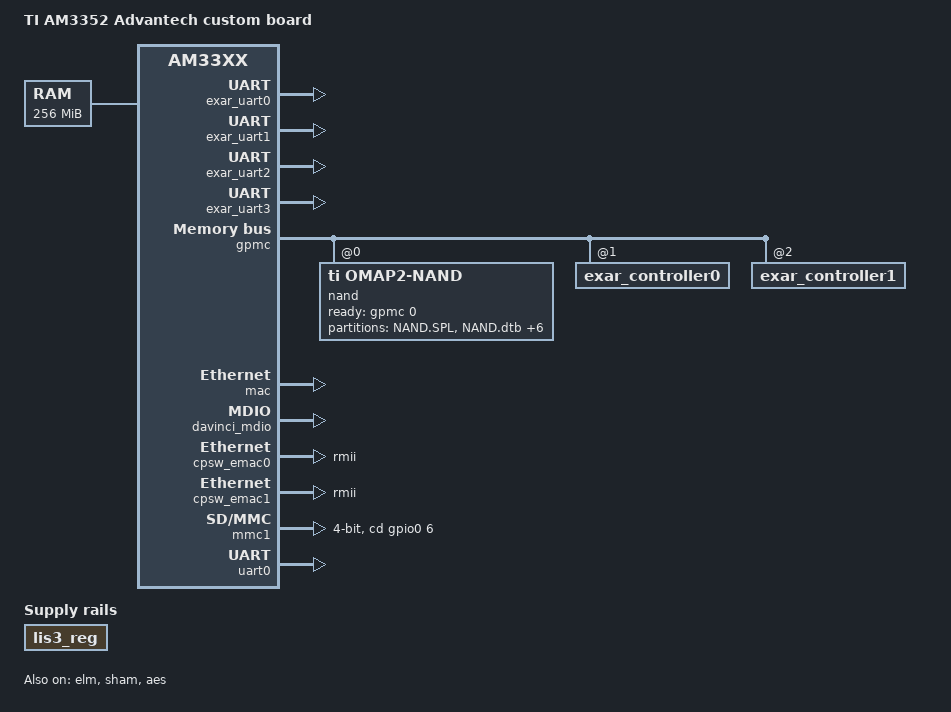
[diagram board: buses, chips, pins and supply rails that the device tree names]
/*
 * Copyright (C) 2012 Texas Instruments Incorporated - http://www.ti.com/
 *
 * This program is free software; you can redistribute it and/or modify
 * it under the terms of the GNU General Public License version 2 as
 * published by the Free Software Foundation.
 *
 *
 * ======= Advantech crop. am3352 custom board ========
*/

/dts-v1/;

#include "am33xx.dtsi"
#include <dt-bindings/pwm/pwm.h>
#include <dt-bindings/interrupt-controller/irq.h>

/ {
	model = "TI AM3352 Advantech custom board";
	compatible = "ti,am335x-evmsk", "ti,am33xx";
	
	cpus {
		cpu@0 { 
			cpu-idle-disabled; /* force cpu idle disable */
		};
	};

	memory {
		device_type = "memory";
		reg = <0x80000000 0x10000000>; /* 256 MB */
	};
	
	lis3_reg: fixedregulator@1 {
		compatible = "regulator-fixed";
		regulator-name = "lis3_reg";
		regulator-boot-on;
	};

	/**
	 * The exar uart node define:
	 * use 16550A driver
	*/
	exar_uart0: exar_uart0@9000000 {
		device_type = "serial";
		compatible = "exar,16m890";
		/*
		 * use GPMC cs1 base memory(0x9000000)
		 * size 0x07 (only 3 bit)
		*/
		reg = <0x09000000 0x07>;
		clock-frequency = <29491200>;
		interrupt-parent = <&intc>;
		/*
		 * reference by  ti-am335x TRM:
		 * 6.3 ARM cortex-A8 interrupt table
		*/
		interrupts = <123>; /* A15 */
		/* 
		 * self implement:
		 * 232/422/485 mode select
		*/
		mode-sel-gpio = <&gpio0 27 GPIO_ACTIVE_HIGH>; /* U12 */
		status = "okay"; 
	};
	
	exar_uart1: exar_uart1@9000008 {
		device_type = "serial";
		compatible = "exar,16m890";
		/*
		 * use GPMC cs1 base memory(0x9000008)
		 * size 0x07 (only 3 bit)
		*/
		reg = <0x09000008 0x07>;
		clock-frequency = <29491200>;
		fifo-size = <128>;
		interrupt-parent = <&intc>;
		/*
		 * reference by  ti-am335x TRM:
		 * 6.3 ARM cortex-A8 interrupt table
		*/
		interrupts = <124>; /* A14 */
		/* 
		 * self implement:
		 * 232/422/485 mode select
		*/
		mode-sel-gpio = <&gpio0 26 GPIO_ACTIVE_HIGH>; /* U11 */
		status = "okay"; 
	};

	exar_uart2: exar_uart2@a000000 {
		device_type = "serial";	
		compatible = "exar,16m890";
		/*
		 * use GPMC cs2 base memory(0xa000000)
		 * size 0x07 (only 3 bit)
		*/
		reg = <0x0a000000 0x07>;
		clock-frequency = <29491200>;
		fifo-size = <128>;
		/*
		 * Pin V14 cannot be a external interrupt,
		 * so use GPIO mode as interrupt
		 * reference by TRM 25.3.3
		*/
		interrupt-parent = <&gpio1>;
		interrupts = <17 IRQ_TYPE_LEVEL_HIGH>; /* V14 */
		/* 
		 * self implement:
		 * 232/422/485 mode select
		*/
		mode-sel-gpio = <&gpio0 23 GPIO_ACTIVE_HIGH>; /* T10 */
		status = "okay"; 
	};

	exar_uart3: exar_uart3@a000008 {
		device_type = "serial";	
		compatible = "exar,16m890";
		/*
		 * use GPMC cs2 base memory(0xa000008)
		 * size 0x07 (only 3 bit)
		*/
		reg = <0x0a000008 0x07>;
		clock-frequency = <29491200>;
		fifo-size = <128>;
		/*
		 * Pin U14 cannot be a external interrupt,
		 * so use GPIO mode as interrupt
		 * reference by TRM 25.3.3
		*/
		interrupt-parent = <&gpio1>;
		interrupts = <18 IRQ_TYPE_LEVEL_HIGH>; /* U14 */
		/* 
		 * self implement:
		 * 232/422/485 mode select
		*/
		mode-sel-gpio = <&gpio0 22 GPIO_ACTIVE_HIGH>; /* U10 */
		status = "okay"; 
	};
};

&am33xx_pinmux {
	pinctrl-names = "default";
	pinctrl-0 = <&gpmc_pins>;
	
	cpsw_default: cpsw_default {
		pinctrl-single,pins = <
			/* Slave 1 */
			0x10c ( PIN_INPUT_PULLDOWN | MUX_MODE1 )	/* (H17) gmii1_crs.rmii1_crs_dv */
			0x110 ( PIN_INPUT_PULLUP | MUX_MODE1 )		/* (J15) gmii1_rxer.rmii1_rxer */
			0x114 ( PIN_OUTPUT_PULLDOWN | MUX_MODE1 ) 	/* (J16) gmii1_txen.rmii1_txen */
			0x124 ( PIN_OUTPUT_PULLDOWN | MUX_MODE1 ) 	/* (K16) gmii1_txd1.rmii1_txd1 */
			0x128 ( PIN_OUTPUT_PULLDOWN | MUX_MODE1 ) 	/* (K17) gmii1_txd0.rmii1_txd0 */
			0x13c ( PIN_INPUT_PULLUP | MUX_MODE1 )		/* (L15) gmii1_rxd1.rmii1_rxd1 */
			0x140 ( PIN_INPUT_PULLUP | MUX_MODE1 ) 		/* (M16) gmii1_rxd0.rmii1_rxd0 */
			0x144 ( PIN_INPUT_PULLDOWN | MUX_MODE0 ) 	/* (H18) rmii1_refclk.rmii1_refclk */
			/* Slave 2 */
			0x40 ( PIN_OUTPUT_PULLDOWN | MUX_MODE3 ) 	/* (R13) gpmc_a0.rmii2_txen */
			0x50 ( PIN_OUTPUT_PULLDOWN | MUX_MODE3 ) 	/* (R14) gpmc_a4.rmii2_txd1 */
			0x54 ( PIN_OUTPUT_PULLDOWN | MUX_MODE3 ) 	/* (V15) gpmc_a5.rmii2_txd0 */
			0x68 ( PIN_INPUT_PULLUP | MUX_MODE3 ) 		/* (T16) gpmc_a10.rmii2_rxd1 */
			0x6c ( PIN_INPUT_PULLUP | MUX_MODE3 ) 		/* (V17) gpmc_a11.rmii2_rxd0 */
			0x74 ( PIN_INPUT_PULLUP | MUX_MODE3 ) 		/* (U17) gpmc_wpn.rmii2_rxer */
			0x88 ( PIN_INPUT_PULLDOWN | MUX_MODE2 ) 	/* (T13) gpmc_csn3.rmii2_crs_dv */
			0x108 ( PIN_INPUT_PULLDOWN | MUX_MODE1 ) 	/* (H16) gmii1_col.rmii2_refclk */
		>;
	};

	davinci_mdio_default: davinci_mdio_default {
		pinctrl-single,pins = <
			0x14c (PIN_OUTPUT_PULLUP | MUX_MODE0)				/* (M18) mdio_clk.mdio_clk */
			0x148 (PIN_INPUT_PULLUP | SLEWCTRL_FAST | MUX_MODE0)/* (M17) mdio_data.mdio_data */
		>;
	};
	
	mmc1_pins_default: pinmux_mmc1_pins {
		pinctrl-single,pins = <
			0x0F0 (PIN_INPUT_PULLUP | MUX_MODE0)	/* mmc0_dat3.mmc0_dat3 */
			0x0F4 (PIN_INPUT_PULLUP | MUX_MODE0)	/* mmc0_dat2.mmc0_dat2 */
			0x0F8 (PIN_INPUT_PULLUP | MUX_MODE0)	/* mmc0_dat1.mmc0_dat1 */
			0x0FC (PIN_INPUT_PULLUP | MUX_MODE0)	/* mmc0_dat0.mmc0_dat0 */
			0x100 (PIN_INPUT_PULLUP | MUX_MODE0)	/* mmc0_clk.mmc0_clk */
			0x104 (PIN_INPUT_PULLUP | MUX_MODE0)	/* mmc0_cmd.mmc0_cmd */
			0x1A0 (PIN_INPUT_PULLUP | MUX_MODE7)	/* mcasp0_aclkr.gpio3_18 */
			0x160 (PIN_INPUT | MUX_MODE7)			/* spi0_cs1.gpio0_6 */
		>;
	};
	/* The console */
	uart0_pins: pinmux_uart0_pins {
		pinctrl-single,pins = <
			0x170 (PIN_INPUT_PULLUP | MUX_MODE0)	/* (E15) uart0_rxd0 */
			0x174 (PIN_OUTPUT_PULLDOWN | MUX_MODE0)	/* (E16) uart0_txd0 */ 
		>;
	};
	
	gpmc_pins: pinmux_gpmc_pins {
		pinctrl-single,pins = <
			/* The nand flash pins */
			0x0 (PIN_INPUT_PULLUP | MUX_MODE0)	/* gpmc_ad0.gpmc_ad0 */
			0x4 (PIN_INPUT_PULLUP | MUX_MODE0)	/* gpmc_ad1.gpmc_ad1 */
			0x8 (PIN_INPUT_PULLUP | MUX_MODE0)	/* gpmc_ad2.gpmc_ad2 */
			0xc (PIN_INPUT_PULLUP | MUX_MODE0)	/* gpmc_ad3.gpmc_ad3 */
			0x10 (PIN_INPUT_PULLUP | MUX_MODE0)	/* gpmc_ad4.gpmc_ad4 */
			0x14 (PIN_INPUT_PULLUP | MUX_MODE0)	/* gpmc_ad5.gpmc_ad5 */
			0x18 (PIN_INPUT_PULLUP | MUX_MODE0)	/* gpmc_ad6.gpmc_ad6 */
			0x1c (PIN_INPUT_PULLUP | MUX_MODE0)	/* gpmc_ad7.gpmc_ad7 */
			0x70 (PIN_INPUT_PULLUP | MUX_MODE0)	/* gpmc_wait0.gpmc_wait0 */
			0x7c (PIN_OUTPUT | MUX_MODE0)		/* gpmc_csn0.gpmc_csn0  */
			0x90 (PIN_OUTPUT | MUX_MODE0)		/* gpmc_advn_ale.gpmc_advn_ale */
			0x94 (PIN_OUTPUT | MUX_MODE0)		/* gpmc_oen_ren.gpmc_oen_ren */
			0x98 (PIN_OUTPUT | MUX_MODE0)		/* gpmc_wen.gpmc_wen */
			0x9c (PIN_OUTPUT | MUX_MODE0)		/* gpmc_be0n_cle.gpmc_be0n_cle */
			/* The exar uart0 & uart1 pins */
			0x80 (PIN_OUTPUT | MUX_MODE0)		/* (U9) gpmc_csn1.gpmc_csn1 */
			0x1b0 (PIN_INPUT | MUX_MODE0)		/* (A15) xdma_event_intr0, INT0 */
			0x1b4 (PIN_INPUT | MUX_MODE0)		/* (D14) xdma_event_intr1, INT1 */
			0x2c (PIN_OUTPUT | MUX_MODE7)		/* (U12) gpio0[27], LD_SEL0 */
			0x28 (PIN_OUTPUT | MUX_MODE7)		/* (T11) gpio0[26], LD_SEL1 */
			0xa0 (PIN_OUTPUT | MUX_MODE1)		/* (R1) gpmca0, SMI_Addr0 */
			0xa4 (PIN_OUTPUT | MUX_MODE1)		/* (R2) gpmca1, SMI_Addr1 */
			/* The exar uart2 & uart3 pins */
			0x84 (PIN_OUTPUT | MUX_MODE0)		/* (V9) gpmc_csn2.gpmc_csn2 */
			0x44 (PIN_INPUT | MUX_MODE7)		/* (V14) gpio1[17], INT2 */
			0x48 (PIN_INPUT | MUX_MODE7)		/* (U14) gpio1[18], INT3 */
			0x24 (PIN_OUTPUT | MUX_MODE7)		/* (T10) gpio0[23], LD_SEL2 */
			0x20 (PIN_OUTPUT | MUX_MODE7)		/* (U10) gpio0[22], LD_SEL3 */
			0xa8 (PIN_OUTPUT | MUX_MODE1)		/* (R3) gpmca2, SMI_Addr2 */
			0xac (PIN_OUTPUT | MUX_MODE1)		/* (R4) gpmca3, SMI_Addr3 */
		>;
	};
};


&elm{
	status = "okay";
};

&gpmc {
	status = "okay";
	pinctrl-names = "default";
	ranges = <0 0 0x08000000 0x01000000>,/* CS0: 16MB for NAND */
			<1 0 0x09000000 0x01000000>, /* CS1: 16MB for exar uart controller 1 */
			<2 0 0x0a000000 0x01000000>; /* CS2: 16MB for exar uart controller 2 */
	nand@0,0 {
		compatible = "ti,omap2-nand";
		reg = <0 0 4>; /* CS0, offset 0, IO size 4 */
		interrupt-parent = <&intc>;
		interrupts = <0 IRQ_TYPE_NONE>, /* fifoevent */
					<1 IRQ_TYPE_NONE>; /* termcount */
		ready-gpio = <&gpmc 0 GPIO_ACTIVE_HIGH>; /* gpmc_wait0 */
		ti,nand-ecc-opt = "bch8";
		ti,elm-id = <&elm>;
		nand-bus-width = <8>;
		gpmc,device-nand = "true";
		gpmc,device-width = <1>;
		gpmc,sync-clk-ps = <0>;
		gpmc,cs-on-ns = <0>;
		gpmc,cs-rd-off-ns = <44>;
		gpmc,cs-wr-off-ns = <44>;
		gpmc,adv-on-ns = <6>;
		gpmc,adv-rd-off-ns = <34>;
		gpmc,adv-wr-off-ns = <44>;
		gpmc,we-on-ns = <0>;
		gpmc,we-off-ns = <40>;
		gpmc,oe-on-ns = <0>;
		gpmc,oe-off-ns = <54>;
		gpmc,access-ns = <64>;
		gpmc,rd-cycle-ns = <82>;
		gpmc,wr-cycle-ns = <82>;
		gpmc,bus-turnaround-ns = <0>;
		gpmc,cycle2cycle-delay-ns = <0>;
		gpmc,clk-activation-ns = <0>;
		gpmc,wr-access-ns = <40>;
		gpmc,wr-data-mux-bus-ns = <0>;
		/*
		 * MTD partition table 
		 *
		 * All SPL-* partitions are sized to minimal length
		 * which can be independently programmable. For
		 * NAND flash this is equal to size of erase-block 
		*/
		#address-cells = <1>;
		#size-cells = <1>;
		partition@0 {
			label = "NAND.SPL";
			reg = <0x00000000 0x000020000>; /* 128k */
		};
		partition@1 {
			label = "NAND.dtb";
			reg = <0x00020000 0x00020000>; /* 128k */
		};
		partition@2 {
			label = "NAND.u-boot";
			reg = <0x00040000 0x00100000>; /* 1m */
		};
		partition@3 {
			label = "NAND.u-boot-env";
			reg = <0x00140000 0x00020000>; /* 128k */
		};
		partition@4 {
			label = "NAND.kernel1";
			reg = <0x00160000 0x00400000>; /* 4m */
		};
		partition@5 {
			label = "NAND.file-system1";
			reg = <0x00560000 0x01000000>; /* 16m */
		};
		partition@6 {
			label = "NAND.kernel2";
			reg = <0x01560000 0x00400000>; /* 4m */
		};
		partition@7 {
			label = "NAND.file-system2";
			reg = <0x01960000 0x01000000>; /* 16m */
		};
	};
	
	exar_controller0@1,0 {
		reg = <1 0 0x01000000>;
		#address-cells = <1>;
		#size-cells = <1>;		/* allow CS address passing */
		gpmc,device-width = <1>;/* 8-bit data width */
		bank-width = <1>;

		gpmc,mux-add-data;		
		gpmc,cs-on-ns = <0>; 		
		gpmc,cs-rd-off-ns = <186>; 
		gpmc,cs-wr-off-ns = <186>; 
		
		gpmc,rd-cycle-ns = <186>;
		gpmc,wr-cycle-ns = <186>;
		gpmc,access-ns = <114>;

		gpmc,cycle2cycle-delay-ns = <18>;
		gpmc,wr-data-mux-bus-ns = <90>;
		gpmc,wr-access-ns = <186>;
		gpmc,cycle2cycle-samecsen;
		gpmc,cycle2cycle-diffcsen;

		gpmc,we-off-ns = <200>;
		gpmc,we-on-ns = <20>;
		gpmc,oe-off-ns = <140>;
		gpmc,oe-on-ns = <20>;
    };
	
	exar_controller1@2,0 {
		reg = <2 0 0x01000000>;
		#address-cells = <1>;
		#size-cells = <1>;
		gpmc,device-width = <1>;
		bank-width = <1>;
		
		gpmc,mux-add-data;		
		gpmc,cs-on-ns = <0>; 		
		gpmc,cs-rd-off-ns = <186>; 
		gpmc,cs-wr-off-ns = <186>; 
		
		gpmc,rd-cycle-ns = <186>;
		gpmc,wr-cycle-ns = <186>;
		gpmc,access-ns = <114>;

		gpmc,cycle2cycle-delay-ns = <18>;
		gpmc,wr-data-mux-bus-ns = <90>;
		gpmc,wr-access-ns = <186>;
		gpmc,cycle2cycle-samecsen;
		gpmc,cycle2cycle-diffcsen;

		gpmc,we-off-ns = <200>;
		gpmc,we-on-ns = <20>;
		gpmc,oe-off-ns = <140>;
		gpmc,oe-on-ns = <20>;
    };
};

&mac {
	pinctrl-names = "default";
	pinctrl-0 = <&cpsw_default>;
	dual_emac = <1>;
	status = "okay";
};

&davinci_mdio {
	pinctrl-names = "default";
	pinctrl-0 = <&davinci_mdio_default>;
	status = "okay";
};

&cpsw_emac0 {
	phy_id = <&davinci_mdio>, <1>;
	phy-mode = "rmii";
	dual_emac_res_vlan = <1>;
};

&cpsw_emac1 {
	phy_id = <&davinci_mdio>, <3>;
	phy-mode = "rmii";
	dual_emac_res_vlan = <2>;
};

&phy_sel {
	rmii-clock-ext;
};      

&mmc1 {
	status = "okay";
	bus-width = <4>;
	pinctrl-names = "default";
	pinctrl-0 = <&mmc1_pins_default>;
	cd-gpios = <&gpio0 6 GPIO_ACTIVE_HIGH>;
};

/* crypto engine */
&sham {
	status = "okay";
};

/* crypto engine */
&aes {
	status = "okay";
};

&gpio0 {
	ti,no-reset-on-init;
	ti,no-idle;
};

&gpio1 {
	ti,no-reset-on-init;
	ti,no-idle;
};

&gpio2 {
	ti,no-reset-on-init;
	ti,no-idle;
};

&rtc {
	clocks = <&clk_32768_ck>, <&clkdiv32k_ick>;
	clock-names = "ext-clk", "int-clk";
};

/* The console */
&uart0 {
	pinctrl-names = "default";
	pinctrl-0 = <&uart0_pins>;
	status = "okay";
};
